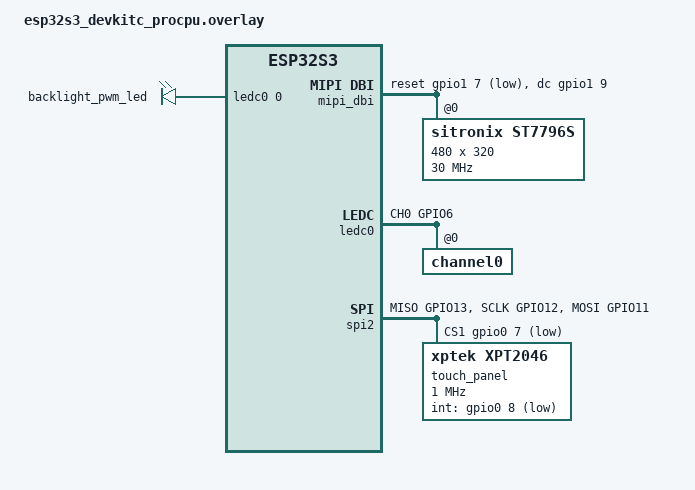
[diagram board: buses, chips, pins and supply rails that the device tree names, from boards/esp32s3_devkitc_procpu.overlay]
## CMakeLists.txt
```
# SPDX-License-Identifier: Apache-2.0

cmake_minimum_required(VERSION 3.20.0)

find_package(Zephyr REQUIRED HINTS $ENV{ZEPHYR_BASE})
project(esp32_lgvl)

target_include_directories(app PRIVATE src src/ui)

target_sources(app PRIVATE
  src/backlight.c
  src/main.c
  src/ui.c
  src/ui/ui_clock.c
  src/ui/ui_common.c
  src/ui/ui_home.c
  src/ui/ui_local.c
  src/ui/ui_menu.c
  src/ui/ui_nav.c
  src/ui/ui_network.c
  src/ui/ui_password.c
  src/ui/ui_palette.c
  src/ui/ui_placeholder.c
  src/ui/ui_settings.c
  src/ui/ui_touch_cal.c
  src/ui/weather_scenes.c
  src/weather_json.c
  src/weather_scene.c
)

set(gen_dir ${ZEPHYR_BINARY_DIR}/include/generated/)

# Home's illustrated weather backgrounds: raw RGB565 pixel data (see
# tools/gen_weather_scenes.py), converted to a C byte array per scene at
# build time - needed on every target (native_sim included, for UI
# iteration), unlike the Wi-Fi-connected-only assets below.
foreach(scene clear partly_cloudy fog rain snow showers thunderstorm unknown)
  generate_inc_file_for_target(
    app
    src/ui/weather_scenes/scene_${scene}.rgb565
    ${gen_dir}/scene_${scene}.rgb565.inc
  )
endforeach()

if(CONFIG_ARCH_POSIX)
  # native_sim/QEMU-less host build for fast LVGL UI iteration: no real
  # Wi-Fi/network stack exists there, so use the fake stand-ins instead.
  target_sources(app PRIVATE src/wifi_sim.c src/weather_sim.c)
else()
  target_sources(app PRIVATE src/wifi.c src/weather.c)

  generate_inc_file_for_target(
    app
    src/weather_cert/isrg_root_x1.der
    ${gen_dir}/isrg_root_x1.der.inc
  )
endif()
```

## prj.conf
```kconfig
# General
CONFIG_MAIN_STACK_SIZE=8192
# CONFIG_HEAP_MEM_POOL_SIZE=49152

# Detect thread stack overflows (kill the thread, log it) instead of
# letting them silently corrupt adjacent memory. Nothing else here
# enables overflow detection; the network_tid stack-size comment in
# wifi.c explains why this app was hit by exactly that failure mode.
CONFIG_STACK_SENTINEL=y

# Display / LVGL
CONFIG_DISPLAY=y
CONFIG_DISPLAY_LOG_LEVEL_ERR=y
CONFIG_SPI=y
CONFIG_MIPI_DBI=y
CONFIG_LVGL=y
CONFIG_LV_Z_MEM_POOL_SIZE=64000
CONFIG_LV_COLOR_DEPTH_16=y
CONFIG_LV_Z_VDB_SIZE=20
CONFIG_LV_USE_LABEL=y
CONFIG_LV_USE_BUTTON=y
CONFIG_LV_USE_BUTTONMATRIX=y
CONFIG_LV_USE_KEYBOARD=y
CONFIG_LV_USE_TEXTAREA=y
CONFIG_LV_FONT_MONTSERRAT_20=y
CONFIG_LV_FONT_MONTSERRAT_24=y
CONFIG_LV_FONT_MONTSERRAT_48=y
CONFIG_LV_FONT_DEFAULT_MONTSERRAT_20=y
CONFIG_LV_THEME_DEFAULT_DARK=y

# XPT2046 touch input -> LVGL
CONFIG_INPUT=y
CONFIG_INPUT_XPT2046=y

# PWM-dimmable backlight (auto-dim after inactivity)
CONFIG_LED=y

# External PSRAM (ESP32-S3-WROOM-1 N16R8: 8 MB octal PSRAM). Internal
# DRAM alone ran at ~84% used (Wi-Fi driver state + LVGL's own buffers,
# not app code) before this; ignored on native_sim, which has no PSRAM.
CONFIG_ESP_SPIRAM=y
CONFIG_SPIRAM_MODE_OCT=y

# 16 MB flash (module's "N16" suffix), not the 8 MB this board target
# defaults to; matches the &flash0 override in the board overlay.
# HEADER_FLASHSIZE_UPDATE re-detects the real chip size and rewrites
# the image header at flash time, so this stays correct even if the
# module changes later.
CONFIG_ESPTOOLPY_FLASHSIZE_16MB=y
CONFIG_ESPTOOLPY_HEADER_FLASHSIZE_UPDATE=y

# Move LVGL's widget-allocation pool into PSRAM: touched only at
# screen-construction time, not per frame, so PSRAM's extra latency
# doesn't matter here. The draw buffer (LV_Z_VDB_SIZE) stays in
# internal SRAM: it's read/written every frame, and moving it would
# visibly slow rendering on this SPI display link.
#
# This SoC's linker has no generic zephyr,memory-region output section
# for PSRAM (LV_Z_MEMORY_POOL_ZEPHYR_REGION assumes one and fails to
# link); Espressif's own mechanism relocates a named object file's BSS
# instead. lvgl_mem.c's only static data is the pool array itself.
CONFIG_ESP_SPIRAM_BSS_RELOC_LIBS_AND_OBJS="lvgl_mem.c.obj"

# Move the Wi-Fi/net stack's own dynamic buffer allocations into
# PSRAM. Most of the Wi-Fi driver's ~74% share of internal DRAM is
# static blob state this can't touch, but the runtime buffers it can
# move are worth freeing too.
CONFIG_ESP32_WIFI_NET_ALLOC_SPIRAM=y

# Networking / Wi-Fi
CONFIG_NETWORKING=y
CONFIG_NET_IPV4=y
CONFIG_NET_IPV6=n
CONFIG_NET_DHCPV4=y
CONFIG_NET_TCP=y
CONFIG_NET_UDP=y
CONFIG_NET_SOCKETS=y
CONFIG_DNS_RESOLVER=y
CONFIG_NET_MGMT=y
CONFIG_NET_MGMT_EVENT=y
CONFIG_NET_L2_WIFI_MGMT=y
CONFIG_NET_CONNECTION_MANAGER=y
CONFIG_NET_MGMT_EVENT_QUEUE_TIMEOUT=5000

CONFIG_WIFI=y
CONFIG_WIFI_ESP32=y

# No static fallback network: CONNECT_STORED always tries the static
# config first and aborts entirely (never trying any saved network) if
# it fails, so a bad/placeholder static password blocks every real
# connection attempt. All networks are managed on-device instead.
CONFIG_WIFI_CREDENTIALS=y
CONFIG_WIFI_CREDENTIALS_MAX_ENTRIES=8

# Persist networks added from the on-device Wi-Fi setup menu.
CONFIG_FLASH=y
CONFIG_FLASH_MAP=y
CONFIG_NVS=y
CONFIG_SETTINGS=y
CONFIG_WIFI_CREDENTIALS_BACKEND_SETTINGS=y

# SNTP
CONFIG_SNTP=y

# Weather (Open-Meteo, HTTPS + JSON) - src/weather.c
CONFIG_HTTP_CLIENT=y
CONFIG_TLS_CREDENTIALS=y
CONFIG_NET_SOCKETS_SOCKOPT_TLS=y

# Without this, mbedtls_ssl_set_hostname() (driven by the TLS_HOSTNAME
# sockopt in weather.c) only sets the name used for post-handshake CN/
# SAN checking; it does not send an SNI ClientHello extension. Open-
# Meteo's front end picks the served certificate by SNI, so without it
# the peer fell back to a default cert for another one of its vhosts
# (customer-geocoding-api.open-meteo.com), which then failed the
# hostname check against geocoding-api.open-meteo.com.
CONFIG_MBEDTLS_SSL_SERVER_NAME_INDICATION=y

CONFIG_JSON_LIBRARY=y
CONFIG_JSON_LIBRARY_FP_SUPPORT=y

CONFIG_MBEDTLS=y
CONFIG_MBEDTLS_ENABLE_HEAP=y
CONFIG_MBEDTLS_HEAP_SIZE=60000
CONFIG_MBEDTLS_SSL_IN_CONTENT_LEN=7168
CONFIG_MBEDTLS_SSL_OUT_CONTENT_LEN=7168

# Open-Meteo's server (verified with `openssl s_client`) rejects the
# older CBC-SHA256 suite with a handshake_failure alert - it only
# offers TLS 1.2 with GCM ciphers, or TLS 1.3. GCM's own Kconfig
# select()s pull in everything it needs (PSA_WANT_ALG_GCM/SHA_256/
# RSA_PSS/PKCS1V15_SIGN/ECDH, the AES/RSA/ECC key types), so no
# separate PSA_WANT_ALG_* lines are needed here.
CONFIG_MBEDTLS_HASH_ALL_ENABLED=y
CONFIG_MBEDTLS_CIPHERSUITE_TLS_ECDHE_RSA_WITH_AES_128_GCM_SHA256=y

# mbedTLS's heap (above) is a real chunk of internal DRAM otherwise;
# move it to the PSRAM already enabled above. native_sim has neither
# PSRAM nor this Kconfig symbol, so this is a no-op there.
CONFIG_ESP_MBEDTLS_HEAP_ALLOC_EXT_RAM=y

# Logging
CONFIG_LOG=y
CONFIG_NET_LOG=y
```

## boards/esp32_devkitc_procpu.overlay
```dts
/*
 * ST7796S 480x320 color TFT (SPI) with an XPT2046 resistive touch
 * controller sharing the same SPI bus (spi3), for LVGL.
 *
 * SPDX-License-Identifier: Apache-2.0
 */

#include <zephyr/dt-bindings/mipi_dbi/mipi_dbi.h>
#include <zephyr/dt-bindings/spi/spi.h>

/ {
	chosen {
		zephyr,display = &st7796s;
		zephyr,touch = &touch_panel;
	};

	/* Backlight tied on at boot; add a GPIO-controlled brightness
	 * later if needed.
	 */
	backlight_hog {
		gpio-hog;
		gpios = <&gpio1 1 GPIO_ACTIVE_HIGH>; /* GPIO33 */
		output-high;
	};

	mipi_dbi: mipi_dbi {
		compatible = "zephyr,mipi-dbi-spi";
		status = "okay";
		#address-cells = <1>;
		#size-cells = <0>;
		spi-dev = <&spi3>;
		dc-gpios = <&gpio0 4 GPIO_ACTIVE_HIGH>;
		reset-gpios = <&gpio1 0 GPIO_ACTIVE_LOW>; /* GPIO32 */
		write-only;

		st7796s: st7796s@0 {
			compatible = "sitronix,st7796s";
			status = "okay";
			reg = <0>;
			mipi-max-frequency = <20000000>;
			mipi-hold-cs;
			width = <480>;
			height = <320>;
			invert-mode = "1-dot";
			dfc = [80 02 3b];
			pwr2 = <0x06>;
			pwr3 = <0xa7>;
			vcmpctl = <0x18>;
			doca = [40 8a 00 00 29 19 a5 33];
			pgc = [f0 09 0b 06 04 15 2f 54 42 3c 17 14 18 1b];
			ngc = [e0 09 0b 06 04 03 2b 43 42 3b 16 14 17 1b];
			madctl = <0x28>;
			color-invert;
			rgb-is-inverted;
		};
	};
};

/* Display CS on the (former hardware-CSEL) GPIO5 pin; touch gets its own
 * CS on GPIO25. MOSI/MISO/SCLK stay on the board's default spi3 pins and
 * are shared between the two devices.
 */
&pinctrl {
	spim3_shared: spim3_shared {
		group1 {
			pinmux = <SPIM3_MISO_GPIO19>, <SPIM3_SCLK_GPIO18>;
		};
		group2 {
			pinmux = <SPIM3_MOSI_GPIO23>;
			output-low;
		};
	};
};

&spi2 {
	status = "disabled";
};

&spi3 {
	pinctrl-0 = <&spim3_shared>;
	cs-gpios = <&gpio0 5 GPIO_ACTIVE_LOW>, <&gpio0 25 GPIO_ACTIVE_LOW>;

	touch_panel: touch@1 {
		compatible = "xptek,xpt2046";
		reg = <1>;
		spi-max-frequency = <1000000>;
		int-gpios = <&gpio0 26 (GPIO_ACTIVE_LOW | GPIO_PULL_UP)>;
		display = <&st7796s>;
		touchscreen-size-x = <480>;
		touchscreen-size-y = <320>;
		/* Raw ADC calibration; typical starting values for a
		 * resistive panel this size. Adjust after testing on
		 * hardware (see README).
		 */
		min-x = <200>;
		max-x = <3900>;
		min-y = <200>;
		max-y = <3900>;
	};
};
```

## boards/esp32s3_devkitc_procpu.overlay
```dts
/*
 * ST7796S 480x320 color TFT (SPI) with an XPT2046 resistive touch
 * controller sharing the same SPI bus (spi2), for LVGL, on ESP32-S3.
 *
 * SPDX-License-Identifier: Apache-2.0
 */

#include <zephyr/dt-bindings/mipi_dbi/mipi_dbi.h>
#include <zephyr/dt-bindings/pwm/pwm.h>
#include <zephyr/dt-bindings/spi/spi.h>

/ {
	chosen {
		zephyr,display = &st7796s;
		zephyr,touch = &touch_panel;
	};

	/* Backlight, PWM-dimmable (was a fixed-on GPIO hog) so the app can
	 * auto-dim after inactivity / at night.
	 */
	backlight_leds: pwmleds {
		compatible = "pwm-leds";

		backlight_pwm_led: backlight_pwm_led {
			/* LED index 0 within this node, per led_set_brightness(). */
			pwms = <&ledc0 0 PWM_HZ(1000) PWM_POLARITY_NORMAL>;
		};
	};

	mipi_dbi: mipi_dbi {
		compatible = "zephyr,mipi-dbi-spi";
		status = "okay";
		#address-cells = <1>;
		#size-cells = <0>;
		spi-dev = <&spi2>;
		dc-gpios = <&gpio1 9 GPIO_ACTIVE_HIGH>;
		reset-gpios = <&gpio1 7 GPIO_ACTIVE_LOW>;
		write-only;

		st7796s: st7796s@0 {
			compatible = "sitronix,st7796s";
			status = "okay";
			reg = <0>;
			mipi-max-frequency = <30000000>;
			width = <480>;
			height = <320>;
			invert-mode = "1-dot";
			frmctl1 = [80 10];
			bpc = [1f 50 00 20];
			dfc = [8a 07 3b];
			pwr1 = [80 64];
			pwr2 = <0x13>;
			pwr3 = <0xa7>;
			vcmpctl = <0x09>;
			doca = [40 8a 00 00 29 19 a5 38];
			pgc = [f0 06 0b 07 06 05 2e 33 47 3a 17 16 2e 31];
			ngc = [f0 09 0d 09 08 23 2e 33 46 38 13 13 2c 32];
			madctl = <0x28>;
			/* This panel shows RGB as BGR; flips the reported
			 * pixel format so colors come out correct (was blue
			 * on black in simulation, green on purple on the
			 * real panel without this).
			 */
			rgb-is-inverted;
		};
	};
};

/* Drop CSEL from the default spim2 pinmux group (we drive both chip
 * selects as plain GPIOs via cs-gpios instead, since two devices share
 * this bus). SCLK/MOSI/MISO stay on the board's default spi2 pins.
 */
&pinctrl {
	spim2_shared: spim2_shared {
		group1 {
			pinmux = <SPIM2_MISO_GPIO13>, <SPIM2_SCLK_GPIO12>;
		};
		group2 {
			pinmux = <SPIM2_MOSI_GPIO11>;
			output-low;
		};
	};

	ledc0_backlight: ledc0_backlight {
		group1 {
			pinmux = <LEDC_CH0_GPIO6>;
			output-enable;
		};
	};
};

&ledc0 {
	pinctrl-0 = <&ledc0_backlight>;
	pinctrl-names = "default";
	status = "okay";
	#address-cells = <1>;
	#size-cells = <0>;

	channel0@0 {
		reg = <0>;
		timer = <0>;
	};
};

/* ESP32-S3-WROOM-1 N16R8: 8 MB octal PSRAM (module's "R8" suffix). */
&psram0 {
	size = <DT_SIZE_M(8)>;
};

/* ESP32-S3-WROOM-1 N16R8: 16 MB flash (module's "N16" suffix), not the
 * 8 MB this board target defaults to.
 */
&flash0 {
	reg = <0x0 DT_SIZE_M(16)>;
	ranges = <0x0 0x0 DT_SIZE_M(16)>;
};

&spi2 {
	pinctrl-0 = <&spim2_shared>;
	cs-gpios = <&gpio1 10 GPIO_ACTIVE_LOW>, <&gpio0 7 GPIO_ACTIVE_LOW>;

	touch_panel: touch@1 {
		compatible = "xptek,xpt2046";
		reg = <1>;
		spi-max-frequency = <1000000>;
		int-gpios = <&gpio0 8 (GPIO_ACTIVE_LOW | GPIO_PULL_UP)>;
		display = <&st7796s>;
		touchscreen-size-x = <480>;
		touchscreen-size-y = <320>;
		/* This panel's touch axes are physically swapped and both
		 * mirrored relative to the display. output-width/height for
		 * the post-swap rescale come from the `display` phandle
		 * above.
		 */
		swapped-x-y;
		inverted-x;
		screen-width = <480>;
		inverted-y;
		screen-height = <320>;
		/* Raw ADC calibration, verified on hardware. */
		min-x = <200>;
		max-x = <3900>;
		min-y = <200>;
		max-y = <3900>;
		/* Average several ADC reads per touch to smooth out resistive
		 * panel jitter; without this, small position noise on a tap
		 * gets misread by LVGL as a scroll-drag, which cancels click
		 * events on scrollable containers (e.g. the Wi-Fi scan list).
		 */
		reads = <8>;
	};
};
```

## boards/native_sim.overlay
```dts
/*
 * native_sim already wires zephyr,display/zephyr,touch to an SDL window
 * and mouse-as-touch by default; just match the real panel's resolution.
 *
 * SPDX-License-Identifier: Apache-2.0
 */

&sdl_dc {
	height = <320>;
	width = <480>;
};
```

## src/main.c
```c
/*
 * SPDX-License-Identifier: Apache-2.0
 */

#include <zephyr/kernel.h>
#include <zephyr/device.h>
#include <zephyr/devicetree.h>
#include <zephyr/drivers/display.h>

#include <lvgl.h>

#include <zephyr/logging/log.h>
LOG_MODULE_REGISTER(internet_clock, LOG_LEVEL_INF);

#include "backlight.h"
#include "ui.h"
#include "weather.h"
#include "wifi.h"

/* PSRAM init only logs on failure (esp_init_psram(), soc/espressif/
 * common/esp_psram.c); log success too so it shows up on the console
 * instead of only being visible via the linker's ext_dram_seg size.
 */
#if defined(CONFIG_ESP_SPIRAM)
#include <esp_psram.h>
#endif

int main(void)
{
	const struct device *display_dev = DEVICE_DT_GET(DT_CHOSEN(zephyr_display));
	int64_t last_update = 0;

	if (!device_is_ready(display_dev)) {
		LOG_ERR("Display device not ready");
		return 0;
	}
	LOG_INF("Display device ready");

#if defined(CONFIG_ESP_SPIRAM)
	if (esp_psram_is_initialized()) {
		LOG_INF("PSRAM ready: %zu bytes", esp_psram_get_size());
	} else {
		LOG_ERR("PSRAM not initialized");
	}
#endif

	weather_init();
	backlight_init();
	ui_init();
	lv_timer_handler();
	display_blanking_off(display_dev);

	while (1) {
		int64_t now = k_uptime_get();

		if (now - last_update >= MSEC_PER_SEC) {
			last_update = now;
			ui_tick(wifi_current_epoch_s(), wifi_get_status());
		}

		ui_poll_wifi_scan();
		backlight_tick();
		lv_timer_handler();
		k_sleep(K_MSEC(10));
	}

	return 0;
}
```

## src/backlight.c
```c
/*
 * SPDX-License-Identifier: Apache-2.0
 */

#include <zephyr/device.h>
#include <zephyr/devicetree.h>
#include <zephyr/drivers/led.h>

#include <lvgl.h>

#include "backlight.h"

#define BACKLIGHT_LED_INDEX        0U
#define BACKLIGHT_FULL_PERCENT     100U
#define BACKLIGHT_DIM_PERCENT      15U
#define BACKLIGHT_IDLE_TIMEOUT_MS  30000U

/* native_sim has no PWM backlight node - guarded out there rather than a
 * hard compile error on the missing devicetree label.
 */
#if DT_NODE_HAS_STATUS_OKAY(DT_NODELABEL(backlight_leds))

static const struct device *const backlight_dev = DEVICE_DT_GET(DT_NODELABEL(backlight_leds));
static bool backlight_dimmed;

void backlight_init(void)
{
    if (!device_is_ready(backlight_dev)) {
        return;
    }

    led_set_brightness(backlight_dev, BACKLIGHT_LED_INDEX, BACKLIGHT_FULL_PERCENT);
    backlight_dimmed = false;
}

void backlight_tick(void)
{
    if (!device_is_ready(backlight_dev)) {
        return;
    }

    uint32_t idle_ms = lv_display_get_inactive_time(NULL);

    if (idle_ms >= BACKLIGHT_IDLE_TIMEOUT_MS && !backlight_dimmed) {
        led_set_brightness(backlight_dev, BACKLIGHT_LED_INDEX, BACKLIGHT_DIM_PERCENT);
        backlight_dimmed = true;
    } else if (idle_ms < BACKLIGHT_IDLE_TIMEOUT_MS && backlight_dimmed) {
        led_set_brightness(backlight_dev, BACKLIGHT_LED_INDEX, BACKLIGHT_FULL_PERCENT);
        backlight_dimmed = false;
    }
}

#else

void backlight_init(void)
{
}

void backlight_tick(void)
{
}

#endif
```

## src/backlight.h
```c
/*
 * SPDX-License-Identifier: Apache-2.0
 */

#ifndef APP_BACKLIGHT_H_
#define APP_BACKLIGHT_H_

/* Configures the PWM backlight and sets it to full brightness. */
void backlight_init(void);

/* Call frequently (the existing ~10 ms main loop tick is fine): dims the
 * backlight after a period of no touch input, restoring full brightness on
 * the next touch. Uses LVGL's own lv_display_get_inactive_time() rather
 * than tracking touch activity separately.
 */
void backlight_tick(void);

#endif /* APP_BACKLIGHT_H_ */
```

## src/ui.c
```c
/*
 * SPDX-License-Identifier: Apache-2.0
 */

#include "ui.h"
#include "ui/ui_clock.h"
#include "ui/ui_home.h"
#include "ui/ui_local.h"
#include "ui/ui_menu.h"
#include "ui/ui_nav.h"
#include "ui/ui_network.h"
#include "ui/ui_password.h"
#include "ui/ui_placeholder.h"
#include "ui/ui_settings.h"
#include "ui/ui_touch_cal.h"

void ui_init(void)
{
    ui_clock_load_offset();

    /* Order doesn't matter for correctness (each screen is a standalone
     * lv_obj_t built once), but children-before-parents reads naturally
     * with how the menu hierarchy nests.
     */
    ui_home_screen_create();
    ui_menu_screen_create();
    ui_settings_screen_create();
    ui_network_screen_create();
    ui_clock_screen_create();
    ui_touch_cal_screen_create();
    ui_password_screen_create();
    ui_placeholder_screen_create();
    ui_local_screen_create();

    nav_load_screen(ui_home_screen_get());
}

void ui_tick(int64_t epoch_s, enum wifi_net_status status)
{
    ui_home_tick(epoch_s, status);
}

void ui_poll_wifi_scan(void)
{
    ui_network_poll_scan();
}
```

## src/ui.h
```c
/*
 * SPDX-License-Identifier: Apache-2.0
 */

#ifndef APP_UI_H_
#define APP_UI_H_

#include <stdint.h>

#include "wifi.h"

void ui_init(void);

/* Call once a second: refreshes the clock screen's time/date/status. */
void ui_tick(int64_t epoch_s, enum wifi_net_status status);

/* Call frequently: pulls new Wi-Fi scan results into the Wi-Fi screen, if
 * a scan is in progress.
 */
void ui_poll_wifi_scan(void);

#endif /* APP_UI_H_ */
```

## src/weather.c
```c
/*
 * SPDX-License-Identifier: Apache-2.0
 */

#include <errno.h>
#include <stdio.h>
#include <string.h>

#include <zephyr/kernel.h>
#include <zephyr/net/http/client.h>
#include <zephyr/net/net_compat.h>
#include <zephyr/net/socket.h>
#include <zephyr/net/tls_credentials.h>
#include <zephyr/settings/settings.h>
#include <zephyr/sys/util.h>

#include <zephyr/logging/log.h>
LOG_MODULE_REGISTER(weather, LOG_LEVEL_INF);

#include "weather.h"
#include "weather_json.h"
#include "weather_scene.h"
#include "weather_cert/isrg_root_x1.h"

#define WEATHER_HOST_FORECAST "api.open-meteo.com"
#define WEATHER_HOST_GEOCODE  "geocoding-api.open-meteo.com"
#define WEATHER_HTTPS_PORT    "443"

/* How often the cached forecast is refreshed, and how long a failed
 * geocode/forecast attempt waits before automatically retrying (AD-4:
 * "every 15-30 minutes").
 */
#define WEATHER_POLL_PERIOD_S 900U

#define WEATHER_HTTP_TIMEOUT_MS   10000
#define WEATHER_HTTP_RECV_BUF_LEN 512U
#define WEATHER_BODY_BUF_LEN      1024U
#define WEATHER_URL_BUF_LEN       160U

struct weather_location {
    double lat;
    double lon;
    char city[WEATHER_CITY_NAME_LEN];
};

static struct k_mutex weather_lock;
static enum weather_status status = WEATHER_STATUS_NO_CITY;
static struct weather_location loc;
static bool pending_geocode;
static char pending_city[WEATHER_CITY_NAME_LEN];
static double cached_temp_c;
static int32_t cached_weather_code = -1;

/* < 0 means "never attempted yet"; forces an immediate attempt. */
static int64_t last_forecast_attempt_ms = -1;
static int64_t last_geocode_attempt_ms = -1;

static uint8_t http_recv_buf[WEATHER_HTTP_RECV_BUF_LEN];

static void save_location(void)
{
    int ret = settings_save_one("weather/loc", &loc, sizeof(loc));

    if (ret != 0) {
        LOG_ERR("Failed to save weather location: %d", ret);
    }
}

static int weather_settings_set(const char *name, size_t len, settings_read_cb read_cb,
                 void *cb_arg)
{
    if (settings_name_steq(name, "loc", NULL) && len == sizeof(loc)) {
        read_cb(cb_arg, &loc, sizeof(loc));
    }
    return 0;
}

SETTINGS_STATIC_HANDLER_DEFINE(weather, "weather", NULL, weather_settings_set, NULL, NULL);

enum weather_status weather_get_status(void)
{
    enum weather_status s;

    k_mutex_lock(&weather_lock, K_FOREVER);
    s = status;
    k_mutex_unlock(&weather_lock);

    return s;
}

bool weather_get_temperature_c(double *out)
{
    bool have_temp;

    k_mutex_lock(&weather_lock, K_FOREVER);
    have_temp = (status == WEATHER_STATUS_OK);
    *out = cached_temp_c;
    k_mutex_unlock(&weather_lock);

    return have_temp;
}

static int32_t get_cached_weather_code(void)
{
    int32_t code;

    k_mutex_lock(&weather_lock, K_FOREVER);
    code = cached_weather_code;
    k_mutex_unlock(&weather_lock);

    return code;
}

/* Short human-readable text for each weather_scene, used by the Home
 * screen's weather line. Ranges live in weather_scene_from_code()
 * (weather_scene.c), per https://open-meteo.com/en/docs (WMO Weather
 * interpretation codes) - this just names each group.
 */
const char *weather_get_condition_text(void)
{
    switch (weather_scene_from_code(get_cached_weather_code())) {
    case WEATHER_SCENE_CLEAR:
        return "Clear";
    case WEATHER_SCENE_PARTLY_CLOUDY:
        return "Partly cloudy";
    case WEATHER_SCENE_FOG:
        return "Fog";
    case WEATHER_SCENE_RAIN:
        return "Rain";
    case WEATHER_SCENE_SNOW:
        return "Snow";
    case WEATHER_SCENE_SHOWERS:
        return "Showers";
    case WEATHER_SCENE_THUNDERSTORM:
        return "Thunderstorm";
    case WEATHER_SCENE_UNKNOWN:
    default:
        return "Unknown";
    }
}

enum weather_scene weather_get_scene(void)
{
    return weather_scene_from_code(get_cached_weather_code());
}

const char *weather_get_city_name(void)
{
    return loc.city;
}

void weather_init(void)
{
    k_mutex_init(&weather_lock);

    settings_subsys_init();
    settings_load_subtree("weather");

    if (loc.city[0] != '\0') {
        status = WEATHER_STATUS_PENDING;
    }

    int ret = tls_credential_add(WEATHER_TLS_CA_CERT_TAG, TLS_CREDENTIAL_CA_CERTIFICATE,
                      weather_ca_certificate, sizeof(weather_ca_certificate));

    if (ret != 0) {
        LOG_ERR("Failed to register weather CA certificate: %d", ret);
    }
}

void weather_set_city(const char *name, size_t len)
{
    size_t copy_len = MIN(len, sizeof(pending_city) - 1U);

    k_mutex_lock(&weather_lock, K_FOREVER);
    memcpy(pending_city, name, copy_len);
    pending_city[copy_len] = '\0';
    pending_geocode = true;
    status = WEATHER_STATUS_PENDING;
    k_mutex_unlock(&weather_lock);

    /* Force an immediate attempt rather than waiting out whatever is
     * left of the previous retry backoff.
     */
    last_geocode_attempt_ms = -1;
}

/* Very small subset of URL encoding: Open-Meteo's geocoding API accepts
 * a "name" query parameter, and the only character common in city names
 * that isn't already URL-safe is the space. Names with punctuation or
 * non-ASCII characters aren't handled here; a full percent-encoder is
 * more machinery than this feature's first pass needs.
 */
static void url_encode_city(const char *name, char *out, size_t out_len)
{
    size_t i;

    for (i = 0U; i < out_len - 1U && name[i] != '\0'; i++) {
        out[i] = (name[i] == ' ') ? '+' : name[i];
    }
    out[i] = '\0';
}

struct http_body_ctx {
    char *buf;
    size_t buf_len;
    size_t len;
};

static int http_body_cb(struct http_response *rsp, enum http_final_call final_data,
             void *user_data)
{
    ARG_UNUSED(final_data);

    struct http_body_ctx *ctx = user_data;
    bool have_room = ctx->len + 1U < ctx->buf_len;

    if (rsp->body_frag_start != NULL && rsp->body_frag_len > 0U && have_room) {
        size_t space = ctx->buf_len - ctx->len - 1U;
        size_t copy_len = MIN(rsp->body_frag_len, space);

        memcpy(&ctx->buf[ctx->len], rsp->body_frag_start, copy_len);
        ctx->len += copy_len;
        ctx->buf[ctx->len] = '\0';
    }

    return 0;
}

static bool https_get(const char *host, const char *url, char *body_buf, size_t body_buf_len,
               size_t *out_body_len)
{
    struct zsock_addrinfo hints = {
        .ai_family = AF_INET,
        .ai_socktype = SOCK_STREAM,
    };
    struct zsock_addrinfo *res = NULL;
    int ret = zsock_getaddrinfo(host, WEATHER_HTTPS_PORT, &hints, &res);

    if (ret != 0 || res == NULL) {
        LOG_ERR("DNS resolve failed for %s: %d", host, ret);
        return false;
    }

    int sock = zsock_socket(res->ai_family, res->ai_socktype, IPPROTO_TLS_1_2);

    if (sock < 0) {
        LOG_ERR("socket() failed: %d", -errno);
        zsock_freeaddrinfo(res);
        return false;
    }

    sec_tag_t sec_tag_list[] = {WEATHER_TLS_CA_CERT_TAG};
    bool tls_ok = zsock_setsockopt(sock, SOL_TLS, TLS_SEC_TAG_LIST, sec_tag_list,
                    sizeof(sec_tag_list)) == 0 &&
              zsock_setsockopt(sock, SOL_TLS, TLS_HOSTNAME, host, strlen(host) + 1U) == 0;

    if (!tls_ok) {
        LOG_ERR("TLS sockopt failed: %d", -errno);
        zsock_close(sock);
        zsock_freeaddrinfo(res);
        return false;
    }

    ret = zsock_connect(sock, res->ai_addr, res->ai_addrlen);
    zsock_freeaddrinfo(res);

    if (ret < 0) {
        LOG_ERR("connect() to %s failed: %d", host, -errno);

        /* A TLS handshake failure surfaces here as a generic errno;
         * this is mbedTLS's actual X509 verify-flags bitmask (0 =
         * verified OK), which says *why* - see MBEDTLS_X509_BADCERT_*
         * in mbedtls/x509.h - not just that it failed.
         */
        int verify_result = 0;
        socklen_t verify_result_len = sizeof(verify_result);

        if (zsock_getsockopt(sock, SOL_TLS, TLS_CERT_VERIFY_RESULT, &verify_result,
                       &verify_result_len) == 0) {
            LOG_ERR("TLS cert verify result: 0x%x", verify_result);
        }

        zsock_close(sock);
        return false;
    }

    struct http_body_ctx ctx = {.buf = body_buf, .buf_len = body_buf_len};
    struct http_request req = {
        .method = HTTP_GET,
        .url = url,
        .host = host,
        .protocol = "HTTP/1.1",
        .response = http_body_cb,
        .recv_buf = http_recv_buf,
        .recv_buf_len = sizeof(http_recv_buf),
    };

    ret = http_client_req(sock, &req, WEATHER_HTTP_TIMEOUT_MS, &ctx);
    zsock_close(sock);

    if (ret < 0) {
        LOG_ERR("HTTP request to %s failed: %d", host, ret);
        return false;
    }

    *out_body_len = ctx.len;

    return true;
}

static bool fetch_geocode(const char *city_name)
{
    char encoded_name[WEATHER_CITY_NAME_LEN];
    char url[WEATHER_URL_BUF_LEN];
    static char body[WEATHER_BODY_BUF_LEN];
    size_t body_len;

    url_encode_city(city_name, encoded_name, sizeof(encoded_name));
    snprintf(url, sizeof(url), "/v1/search?name=%s&count=1&language=en&format=json",
         encoded_name);

    if (!https_get(WEATHER_HOST_GEOCODE, url, body, sizeof(body), &body_len)) {
        return false;
    }

    double lat;
    double lon;
    char city[WEATHER_CITY_NAME_LEN];

    if (!weather_parse_geocode_json(body, body_len, &lat, &lon, city, sizeof(city))) {
        LOG_ERR("Geocoding response parse failed for \"%s\"", city_name);
        return false;
    }

    k_mutex_lock(&weather_lock, K_FOREVER);
    loc.lat = lat;
    loc.lon = lon;
    memcpy(loc.city, city, sizeof(loc.city));
    k_mutex_unlock(&weather_lock);

    LOG_INF("Geocoded \"%s\" -> %s (%.4f, %.4f)", city_name, city, lat, lon);

    return true;
}

static bool fetch_forecast(double lat, double lon)
{
    char url[WEATHER_URL_BUF_LEN];
    static char body[WEATHER_BODY_BUF_LEN];
    size_t body_len;

    snprintf(url, sizeof(url),
         "/v1/forecast?latitude=%.4f&longitude=%.4f"
         "&current=temperature_2m,weather_code&temperature_unit=celsius",
         lat, lon);

    if (!https_get(WEATHER_HOST_FORECAST, url, body, sizeof(body), &body_len)) {
        return false;
    }

    double temp_c;
    int32_t weather_code;

    if (!weather_parse_forecast_json(body, body_len, &temp_c, &weather_code)) {
        LOG_ERR("Forecast response parse failed");
        return false;
    }

    k_mutex_lock(&weather_lock, K_FOREVER);
    cached_temp_c = temp_c;
    cached_weather_code = weather_code;
    k_mutex_unlock(&weather_lock);

    LOG_INF("Forecast: %.1fC, code=%d", temp_c, weather_code);

    return true;
}

static bool due(int64_t last_attempt_ms, int64_t now_ms)
{
    return last_attempt_ms < 0 ||
           (now_ms - last_attempt_ms) >= (int64_t)WEATHER_POLL_PERIOD_S * MSEC_PER_SEC;
}

void weather_poll(void)
{
    int64_t now_ms = k_uptime_get();
    bool do_geocode;
    char city_copy[WEATHER_CITY_NAME_LEN];

    k_mutex_lock(&weather_lock, K_FOREVER);
    do_geocode = pending_geocode && due(last_geocode_attempt_ms, now_ms);
    if (do_geocode) {
        memcpy(city_copy, pending_city, sizeof(city_copy));
    }
    k_mutex_unlock(&weather_lock);

    if (do_geocode) {
        last_geocode_attempt_ms = now_ms;

        if (fetch_geocode(city_copy)) {
            k_mutex_lock(&weather_lock, K_FOREVER);
            pending_geocode = false;
            status = WEATHER_STATUS_OK;
            k_mutex_unlock(&weather_lock);

            save_location();

            /* Fetch the forecast for the newly-resolved location
             * on the very next poll instead of waiting out a
             * full period.
             */
            last_forecast_attempt_ms = -1;
        } else {
            k_mutex_lock(&weather_lock, K_FOREVER);
            status = WEATHER_STATUS_ERROR;
            k_mutex_unlock(&weather_lock);
        }
        return;
    }

    bool have_location;
    double lat;
    double lon;

    k_mutex_lock(&weather_lock, K_FOREVER);
    have_location = (loc.city[0] != '\0') && !pending_geocode;
    lat = loc.lat;
    lon = loc.lon;
    k_mutex_unlock(&weather_lock);

    if (!have_location || !due(last_forecast_attempt_ms, now_ms)) {
        return;
    }

    last_forecast_attempt_ms = now_ms;

    bool ok = fetch_forecast(lat, lon);

    k_mutex_lock(&weather_lock, K_FOREVER);
    status = ok ? WEATHER_STATUS_OK : WEATHER_STATUS_ERROR;
    k_mutex_unlock(&weather_lock);
}
```

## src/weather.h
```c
/*
 * SPDX-License-Identifier: Apache-2.0
 */

#ifndef APP_WEATHER_H_
#define APP_WEATHER_H_

#include <stdbool.h>
#include <stddef.h>

#include "weather_scene.h"

#define WEATHER_CITY_NAME_LEN 32U

enum weather_status {
    WEATHER_STATUS_NO_CITY,
    WEATHER_STATUS_PENDING,
    WEATHER_STATUS_OK,
    WEATHER_STATUS_ERROR,
};

/* Loads any previously-saved city/location from flash; call once at
 * startup, before any screen needs to display weather.
 */
void weather_init(void);

/* Requests a new city by name (from the Local settings screen). Does not
 * block: the actual geocoding request happens from weather_poll(), on the
 * network thread.
 */
void weather_set_city(const char *name, size_t len);

/* Call periodically from the network thread (see wifi.c), only while
 * Wi-Fi is connected: resolves a pending city name, or refreshes the
 * cached forecast once it's stale.
 */
void weather_poll(void);

enum weather_status weather_get_status(void);

/* Last fetched temperature in Celsius. Returns false if none is available
 * yet (no city set, or the first fetch hasn't completed).
 */
bool weather_get_temperature_c(double *out);

/* Short human-readable condition text (e.g. "Clear", "Rain"), or "" if
 * none is available yet.
 */
const char *weather_get_condition_text(void);

/* Which illustrated sky scene (see ui_home.c) matches the last fetched
 * condition. WEATHER_SCENE_UNKNOWN before any forecast has been fetched.
 */
enum weather_scene weather_get_scene(void);

/* Resolved city name (may differ slightly from what was typed, e.g. the
 * geocoding API's own capitalization), or "" if none is set.
 */
const char *weather_get_city_name(void);

#endif /* APP_WEATHER_H_ */
```

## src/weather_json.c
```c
/*
 * SPDX-License-Identifier: Apache-2.0
 */

#include <math.h>
#include <string.h>

#include <zephyr/data/json.h>
#include <zephyr/sys/util.h>

#include "weather_json.h"

/* Only one geocoding result is ever requested (count=1 in the API URL),
 * so the array only needs room for one.
 */
#define GEOCODE_MAX_RESULTS 1U

struct forecast_current {
    const char *time;
    double temperature_2m;
    int32_t weather_code;
};

struct forecast_response {
    double latitude;
    double longitude;
    struct forecast_current current;
};

static const struct json_obj_descr forecast_current_descr[] = {
    JSON_OBJ_DESCR_PRIM(struct forecast_current, time, JSON_TOK_STRING),
    JSON_OBJ_DESCR_PRIM(struct forecast_current, temperature_2m, JSON_TOK_DOUBLE_FP),
    JSON_OBJ_DESCR_PRIM(struct forecast_current, weather_code, JSON_TOK_NUMBER),
};

static const struct json_obj_descr forecast_descr[] = {
    JSON_OBJ_DESCR_PRIM(struct forecast_response, latitude, JSON_TOK_DOUBLE_FP),
    JSON_OBJ_DESCR_PRIM(struct forecast_response, longitude, JSON_TOK_DOUBLE_FP),
    JSON_OBJ_DESCR_OBJECT(struct forecast_response, current, forecast_current_descr),
};

/* Index of "current" within forecast_descr: the only field this app
 * actually requires (latitude/longitude at the top level are redundant
 * with what was already sent in the request and aren't used).
 */
#define FORECAST_CURRENT_BIT BIT(2)

struct geocode_result {
    const char *name;
    double latitude;
    double longitude;
};

struct geocode_response {
    struct geocode_result results[GEOCODE_MAX_RESULTS];
    size_t num_results;
};

static const struct json_obj_descr geocode_result_descr[] = {
    JSON_OBJ_DESCR_PRIM(struct geocode_result, name, JSON_TOK_STRING),
    JSON_OBJ_DESCR_PRIM(struct geocode_result, latitude, JSON_TOK_DOUBLE_FP),
    JSON_OBJ_DESCR_PRIM(struct geocode_result, longitude, JSON_TOK_DOUBLE_FP),
};

static const struct json_obj_descr geocode_descr[] = {
    JSON_OBJ_DESCR_OBJ_ARRAY(struct geocode_response, results, GEOCODE_MAX_RESULTS,
                 num_results, geocode_result_descr,
                 ARRAY_SIZE(geocode_result_descr)),
};

bool weather_parse_forecast_json(char *buf, size_t len, double *out_temp_c,
                  int32_t *out_weather_code)
{
    /* json_obj_parse() only writes fields actually present in the
     * document; a field silently omitted from a nested object isn't
     * distinguishable from "parsed successfully" via the returned
     * bitmap alone (that bitmap only covers top-level descriptors), so
     * pre-fill with sentinels no real API response would produce and
     * check them explicitly below.
     */
    struct forecast_response resp = {
        .current = {
            .temperature_2m = NAN,
            .weather_code = -1,
        },
    };

    int64_t ret = json_obj_parse(buf, len, forecast_descr, ARRAY_SIZE(forecast_descr), &resp);

    if (ret < 0) {
        return false;
    }

    if ((ret & FORECAST_CURRENT_BIT) == 0) {
        return false;
    }

    if (isnan(resp.current.temperature_2m) || resp.current.weather_code < 0) {
        return false;
    }

    *out_temp_c = resp.current.temperature_2m;
    *out_weather_code = resp.current.weather_code;

    return true;
}

bool weather_parse_geocode_json(char *buf, size_t len, double *out_lat, double *out_lon,
                 char *out_city, size_t city_buf_len)
{
    struct geocode_response resp = {
        .results[0] = {
            .latitude = NAN,
            .longitude = NAN,
        },
    };

    int64_t ret = json_obj_parse(buf, len, geocode_descr, ARRAY_SIZE(geocode_descr), &resp);

    if (ret < 0) {
        return false;
    }

    if (resp.num_results == 0U) {
        return false;
    }

    const struct geocode_result *first = &resp.results[0];

    if (first->name == NULL || isnan(first->latitude) || isnan(first->longitude)) {
        return false;
    }

    *out_lat = first->latitude;
    *out_lon = first->longitude;

    size_t name_len = strlen(first->name);
    size_t copy_len = MIN(name_len, city_buf_len - 1U);

    memcpy(out_city, first->name, copy_len);
    out_city[copy_len] = '\0';

    return true;
}
```

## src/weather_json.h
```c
/*
 * SPDX-License-Identifier: Apache-2.0
 */

#ifndef APP_WEATHER_JSON_H_
#define APP_WEATHER_JSON_H_

#include <stdbool.h>
#include <stddef.h>
#include <stdint.h>

/* Parses an Open-Meteo forecast response body, e.g.:
 * {"latitude":51.5,"longitude":-0.1,
 *  "current":{"time":"...","temperature_2m":8.3,"weather_code":3}}
 *
 * buf is mutated in place (the JSON library null-terminates strings where
 * it finds them), so it must not be a string literal. Returns false if the
 * document is malformed or missing the fields this app actually needs.
 */
bool weather_parse_forecast_json(char *buf, size_t len, double *out_temp_c,
                  int32_t *out_weather_code);

/* Parses an Open-Meteo geocoding response body, e.g.:
 * {"results":[{"name":"London","latitude":51.5,"longitude":-0.1}]}
 *
 * Only the first result is used (the caller is expected to request
 * count=1 from the API). buf is mutated in place, same as above. Returns
 * false if the document is malformed, or if no city was found (an empty
 * "results" array is valid JSON but not a usable result).
 */
bool weather_parse_geocode_json(char *buf, size_t len, double *out_lat, double *out_lon,
                 char *out_city, size_t city_buf_len);

#endif /* APP_WEATHER_JSON_H_ */
```

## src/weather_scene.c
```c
/*
 * SPDX-License-Identifier: Apache-2.0
 */

#include "weather_scene.h"

enum weather_scene weather_scene_from_code(int32_t code)
{
    if (code == 0) {
        return WEATHER_SCENE_CLEAR;
    } else if (code >= 1 && code <= 3) {
        return WEATHER_SCENE_PARTLY_CLOUDY;
    } else if (code == 45 || code == 48) {
        return WEATHER_SCENE_FOG;
    } else if (code >= 51 && code <= 67) {
        return WEATHER_SCENE_RAIN;
    } else if (code >= 71 && code <= 77) {
        return WEATHER_SCENE_SNOW;
    } else if (code >= 80 && code <= 82) {
        return WEATHER_SCENE_SHOWERS;
    } else if (code >= 95 && code <= 99) {
        return WEATHER_SCENE_THUNDERSTORM;
    }

    return WEATHER_SCENE_UNKNOWN;
}
```

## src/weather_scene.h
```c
/*
 * SPDX-License-Identifier: Apache-2.0
 */

#ifndef APP_WEATHER_SCENE_H_
#define APP_WEATHER_SCENE_H_

#include <stdint.h>

/* Which illustrated Home-screen sky scene (see ui_home.c) a WMO weather
 * code maps to. Kept separate from weather.c, and its cached_weather_code/
 * sockets/TLS dependencies, so this pure mapping links standalone in
 * tests/weather - the same reason weather_json.c was split out (AD-5 in
 * docs/ARCHITECTURE.md).
 */
enum weather_scene {
    WEATHER_SCENE_CLEAR,
    WEATHER_SCENE_PARTLY_CLOUDY,
    WEATHER_SCENE_FOG,
    WEATHER_SCENE_RAIN,
    WEATHER_SCENE_SNOW,
    WEATHER_SCENE_SHOWERS,
    WEATHER_SCENE_THUNDERSTORM,
    WEATHER_SCENE_UNKNOWN,
};

/* Maps an Open-Meteo/WMO weather_code (see https://open-meteo.com/en/docs,
 * "WMO Weather interpretation codes") to a scene. Ranges match
 * weather_get_condition_text()'s grouping in weather.c.
 */
enum weather_scene weather_scene_from_code(int32_t code);

#endif /* APP_WEATHER_SCENE_H_ */
```

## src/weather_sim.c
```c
/*
 * Fake stand-in for weather.c on native_sim: no real network/TLS stack
 * is exercised there, so this fabricates a fixed reading once a city has
 * been "set", purely so the LVGL UI can be exercised without hardware or
 * internet access.
 *
 * SPDX-License-Identifier: Apache-2.0
 */

#include <string.h>

#include <zephyr/kernel.h>
#include <zephyr/sys/util.h>

#include "weather.h"

#define SIM_TEMPERATURE_C 21.5

/* Cycles through one representative WMO code per scene so every Home
 * screen illustration can be seen on native_sim without a real forecast.
 */
#define SIM_SCENE_PERIOD_MS 8000

struct sim_condition {
    int32_t weather_code;
    const char *text;
};

static const struct sim_condition sim_conditions[] = {
    {.weather_code = 0, .text = "Clear"},
    {.weather_code = 2, .text = "Partly cloudy"},
    {.weather_code = 45, .text = "Fog"},
    {.weather_code = 61, .text = "Rain"},
    {.weather_code = 73, .text = "Snow"},
    {.weather_code = 80, .text = "Showers"},
    {.weather_code = 96, .text = "Thunderstorm"},
};

static enum weather_status sim_status = WEATHER_STATUS_NO_CITY;
static char sim_city[WEATHER_CITY_NAME_LEN];

static const struct sim_condition *sim_current_condition(void)
{
    size_t index = (k_uptime_get() / SIM_SCENE_PERIOD_MS) % ARRAY_SIZE(sim_conditions);

    return &sim_conditions[index];
}

void weather_init(void)
{
}

void weather_set_city(const char *name, size_t len)
{
    size_t copy_len = MIN(len, sizeof(sim_city) - 1U);

    memcpy(sim_city, name, copy_len);
    sim_city[copy_len] = '\0';
    sim_status = WEATHER_STATUS_OK;
}

void weather_poll(void)
{
}

enum weather_status weather_get_status(void)
{
    return sim_status;
}

bool weather_get_temperature_c(double *out)
{
    *out = SIM_TEMPERATURE_C;
    return sim_status == WEATHER_STATUS_OK;
}

const char *weather_get_condition_text(void)
{
    return sim_current_condition()->text;
}

enum weather_scene weather_get_scene(void)
{
    return weather_scene_from_code(sim_current_condition()->weather_code);
}

const char *weather_get_city_name(void)
{
    return sim_city;
}
```
